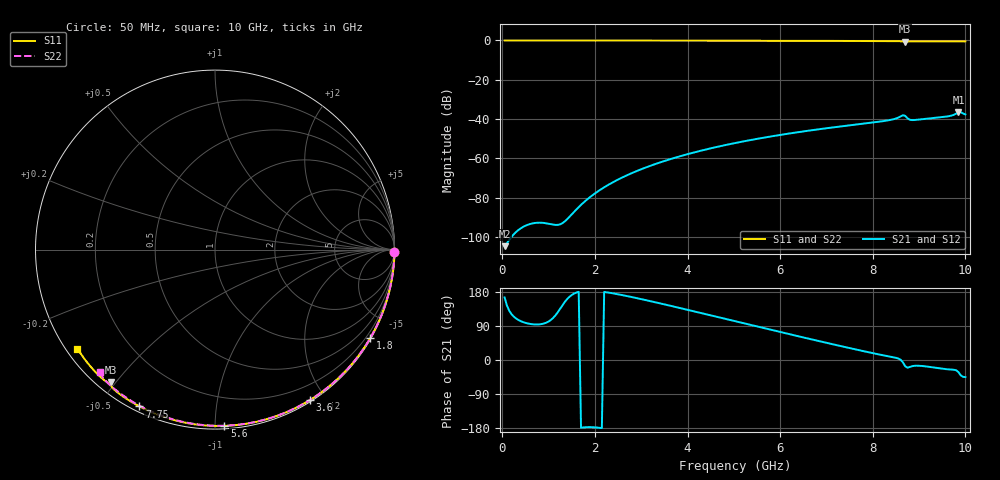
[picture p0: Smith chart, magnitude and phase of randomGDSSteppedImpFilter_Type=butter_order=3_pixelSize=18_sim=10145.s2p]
! freq	dB(S11)	phase(S11)	dB(S12)	phase(S12)
!  dB(S21)	phase(S21)	dB(S22)	phase(S22)
!S-par simulation data
#  GHz  S  DB  R 50
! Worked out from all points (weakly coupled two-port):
!   200 points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, 50 MHz to 10 GHz, reference 50 ohm
!   highest |S21| = -36.47 dB at 9.85 GHz (marker M1); lowest = -104.7 dB at 50 MHz (marker M2)
!   lowest |S11| = -0.5 dB at 8.7 GHz (marker M3), VSWR 31.69, Z = 1.95 - j24.4 ohm
!   |S11| at or under -10 dB: nowhere
!   |S22| runs from -0.8 to 0.0 dB; largest |S21 - S12| = 0
!   S11 on the Smith chart (normalised r, x): 50 MHz: open; 1.8 GHz: 0.03, -3.78; 3.6 GHz: 0.02, -1.81; 5.6 GHz: 0.02, -1.06; 7.75 GHz: 0.02, -0.63; 10 GHz: 0.03, -0.32
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0.05  -0.00 -0.8  -104.73 165.2  -104.73 165.2  -0.00 -0.8
0.9  -0.02 -15.0  -92.91 96.3  -92.91 96.3  -0.02 -13.8
1.75  -0.04 -28.9  -82.62 -177.9  -82.62 -177.9  -0.03 -26.5
1.8  -0.04 -29.7  -81.58 -177.3  -81.58 -177.3  -0.03 -27.3
1.9  -0.04 -31.3  -79.65 -177.1  -79.65 -177.1  -0.04 -28.8
2.25  -0.05 -36.9  -74.05 178.7  -74.05 178.7  -0.04 -33.9
2.65  -0.06 -43.2  -69.09 169.8  -69.09 169.8  -0.05 -39.8
3.4  -0.07 -54.8  -62.14 149.6  -62.14 149.6  -0.07 -50.5
3.6  -0.08 -57.9  -60.63 144.0  -60.63 144.0  -0.07 -53.3
4.3  -0.10 -68.3  -56.06 123.7  -56.06 123.7  -0.09 -63.0
5.05  -0.12 -79.2  -52.12 101.7  -52.12 101.7  -0.11 -73.1
5.6  -0.14 -86.9  -49.68 85.6  -49.68 85.6  -0.13 -80.3
6.7  -0.20 -101.9  -45.64 53.8  -45.64 53.8  -0.18 -94.3
7.75  -0.27 -115.7  -42.49 24.7  -42.49 24.7  -0.25 -107.2
8.35  -0.32 -123.6  -40.60 9.5  -40.60 9.5  -0.29 -114.4
8.65  -0.48 -128.0  -38.06 -6.0  -38.06 -6.0  -0.31 -118.0
8.7  -0.55 -128.0  -38.37 -16.4  -38.37 -16.4  -0.32 -118.6
8.8  -0.45 -128.6  -40.36 -18.4  -40.36 -18.4  -0.33 -119.8
8.9  -0.41 -130.0  -40.50 -15.3  -40.50 -15.3  -0.34 -121.0
9.65  -0.46 -139.7  -38.52 -24.9  -38.52 -24.9  -0.44 -130.5
9.85  -0.48 -142.3  -36.47 -32.0  -36.47 -32.0  -0.72 -133.1
10  -0.49 -144.3  -37.65 -45.1  -37.65 -45.1  -0.57 -133.1
